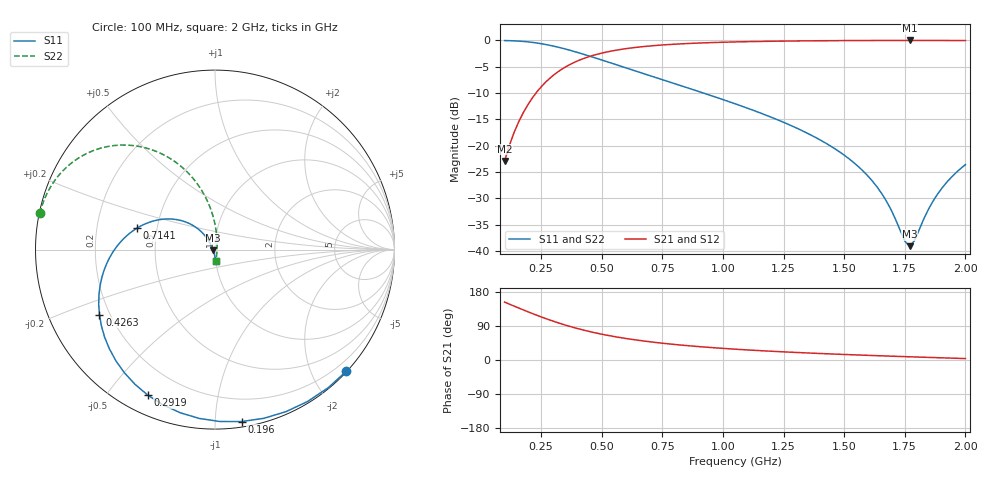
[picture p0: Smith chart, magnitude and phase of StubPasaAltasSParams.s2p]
! Created Sat Nov 25 14:04:32 2023
# hz S ri R 50
! 2 Port Network Data from SP1.SP block
! freq  reS11  imS11  reS21  imS21  reS12  imS12  reS22  imS22
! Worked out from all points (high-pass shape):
!   100 points, 100 MHz to 2 GHz, reference 50 ohm
!   highest |S21| = 0.00 dB at 1.77 GHz (marker M1); lowest = -22.9 dB at 100 MHz (marker M2)
!   |S21| within 3 dB of the highest: 453.7 MHz to end of sweep
!   lowest |S11| = -39.1 dB at 1.77 GHz (marker M3), VSWR 1.02, Z = 49 - j0.369 ohm
!   |S11| at or under -10 dB: 920.4 MHz to end of sweep
!   |S22| runs from -39.1 to 0.0 dB; largest |S21 - S12| = 1.4e-15
!   S11 on the Smith chart (normalised r, x): 100 MHz: 0.01, -2.55; 196 MHz: 0.04, -1.17; 291.9 MHz: 0.08, -0.64; 426.3 MHz: 0.16, -0.26; 714.1 MHz: 0.38, +0.11; 2 GHz: 1.00, -0.13
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1e8  0.7324 -0.6771  -0.0637 0.0328  -0.0637 0.0328  -0.9768 0.2018
1.575758e8  0.3962 -0.9027  -0.1233 0.1137  -0.1233 0.1137  -0.932 0.3213
1.959596e8  0.1481 -0.9581  -0.1487 0.1951  -0.1487 0.1951  -0.8847 0.3964
2.343434e8  -0.0873 -0.9408  -0.1522 0.29  -0.1522 0.29  -0.824 0.4623
2.919192e8  -0.3726 -0.8122  -0.1106 0.435  -0.1106 0.435  -0.7154 0.5355
3.494949e8  -0.5515 -0.6206  -0.0225 0.557  -0.0225 0.557  -0.5998 0.5741
4.262626e8  -0.6439 -0.3616  0.131 0.6614  0.131 0.6614  -0.4574 0.5798
5.606061e8  -0.5867 -0.0438  0.3926 0.7069  0.3926 0.7069  -0.2729 0.5212
7.141414e8  -0.4353 0.1192  0.609 0.6523  0.609 0.6523  -0.1488 0.4261
7.333333e8  -0.417 0.1297  0.6299 0.6422  0.6299 0.6422  -0.1377 0.4144
8.868687e8  -0.2894 0.1694  0.7613 0.555  0.7613 0.555  -0.0727 0.3273
1.059596e9  -0.1861 0.161  0.8542 0.4579  0.8542 0.4579  -0.0311 0.2441
1.366667e9  -0.0762 0.0993  0.9431 0.3082  0.9431 0.3082  0.00287 0.1251
1.558586e9  -0.0371 0.0514  0.9716 0.2279  0.9716 0.2279  0.0104 0.0626
1.635354e9  -0.0258 0.0316  0.9794 0.1979  0.9794 0.1979  0.0115 0.0391
1.692929e9  -0.0185 0.0165  0.9841 0.1761  0.9841 0.1761  0.0117 0.0219
1.750505e9  -0.0123 0.00133  0.9879 0.1547  0.9879 0.1547  0.0113 0.00503
1.769697e9  -0.0105 -0.00376  0.989 0.1477  0.989 0.1477  0.0111 -0.000542
1.788889e9  -0.00871 -0.00887  0.99 0.1407  0.99 0.1407  0.0108 -0.00609
1.846465e9  -0.00404 -0.0243  0.9925 0.12  0.9925 0.12  0.00971 -0.0226
1.884848e9  -0.0014 -0.0346  0.9937 0.1063  0.9937 0.1063  0.00869 -0.0335
2e9  0.00438 -0.066  0.9956 0.066  0.9956 0.066  0.00438 -0.066
